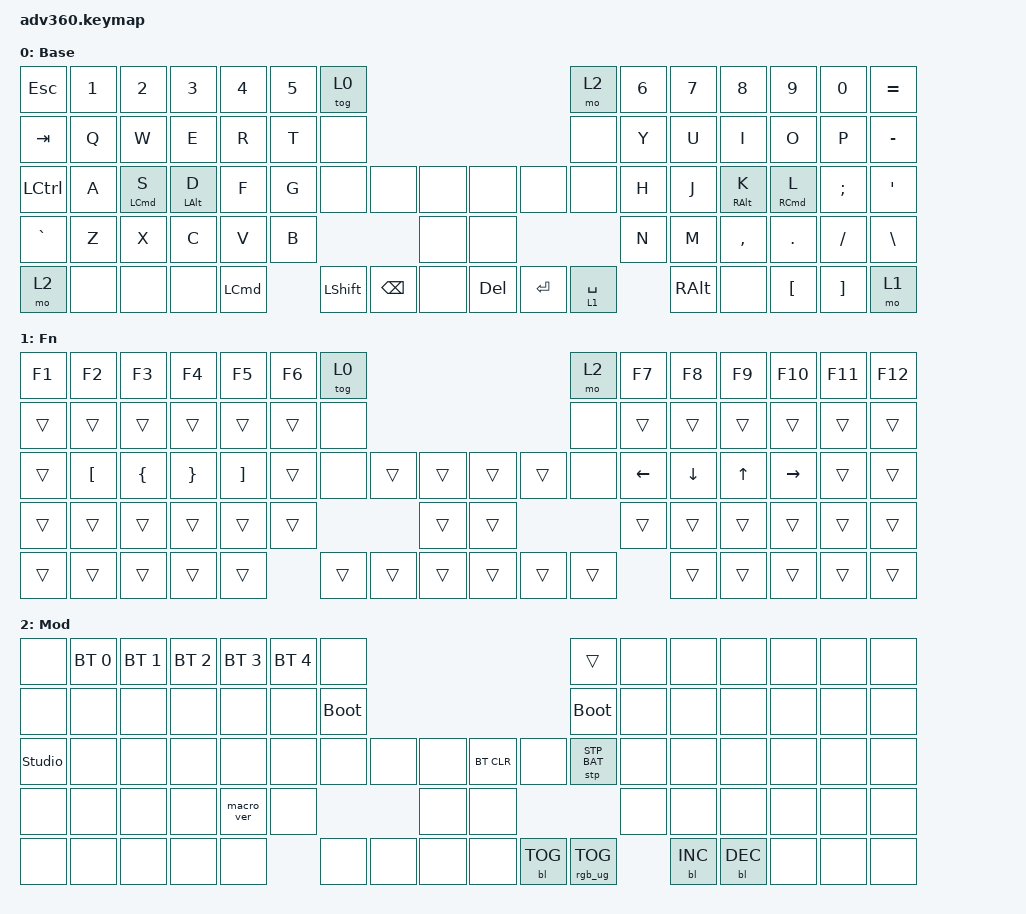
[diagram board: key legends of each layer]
#include <dt-bindings/zmk/stp.h>
#include <behaviors.dtsi>
#include <dt-bindings/zmk/backlight.h>
#include <dt-bindings/zmk/bt.h>
#include <dt-bindings/zmk/keys.h>
#include <dt-bindings/zmk/rgb.h>

/ {
    behaviors {
        #include "macros.dtsi"
      #include "version.dtsi"

        hm_l: hm_l {
            compatible = "zmk,behavior-hold-tap";
            label = "HM_L";
            bindings = <&kp>, <&kp>;

            #binding-cells = <2>;
            tapping-term-ms = <300>;
            quick-tap-ms = <175>;
            require-prior-idle-ms = <150>;
            flavor = "balanced";
            hold-trigger-on-release;
            hold-trigger-key-positions = <7 8 9 10 11 12 13 21 7 8 9 10 11 12 13 21 22 23 24 25 26 27 38 39 40 41 42 43 44 45 54 55 56 57 58 59 69 70 71 72 73 74 75 21 22 23 24 25 26 27 37 38 39 40 41 42 43 44 45 53 54 55 56 57 58 59 68 69 70 71 72 73 74 75>;
        };

        hm_r: hm_r {
            compatible = "zmk,behavior-hold-tap";
            label = "HM_R";
            bindings = <&kp>, <&kp>;

            #binding-cells = <2>;
            tapping-term-ms = <300>;
            quick-tap-ms = <175>;
            require-prior-idle-ms = <150>;
            flavor = "balanced";
            hold-trigger-on-release;
            hold-trigger-key-positions = <0 1 2 3 4 5 6 14 15 16 17 18 19 20 28 29 30 31 32 33 34 35 36 46 47 48 49 50 51 52 60 61 62 63 64 65 66 67>;
        };
    };

    keymap {
        compatible = "zmk,keymap";

        default_layer {
            display-name = "Base";
            bindings = <
&kp ESCAPE  &kp N1  &kp N2        &kp N3            &kp N4    &kp N5  &tog 0                                                        &mo 2        &kp N6  &kp N7         &kp N8             &kp N9        &kp N0    &kp EQUAL
&kp TAB     &kp Q   &kp W         &kp E             &kp R     &kp T   &none                                                         &none        &kp Y   &kp U          &kp I              &kp O         &kp P     &kp MINUS
&kp LCTRL   &kp A   &hm_l LCMD S  &hm_l LEFT_ALT D  &kp F     &kp G   &none           &none          &none      &none    &none      &none        &kp H   &kp J          &hm_r RIGHT_ALT K  &hm_r RCMD L  &kp SEMI  &kp SQT
&kp GRAVE   &kp Z   &kp X         &kp C             &kp V     &kp B                                  &none      &none                            &kp N   &kp M          &kp COMMA          &kp DOT       &kp FSLH  &kp BACKSLASH
&mo 2       &none   &none         &none             &kp LCMD          &kp LEFT_SHIFT  &kp BACKSPACE  &none      &kp DEL  &kp ENTER  &lt 1 SPACE          &kp RIGHT_ALT  &none              &kp LBKT      &kp RBKT  &mo 1
            >;
        };

        fn {
            display-name = "Fn";
            bindings = <
&kp F1  &kp F2            &kp F3          &kp F4           &kp F5             &kp F6  &tog 0                                      &mo 2   &kp F7    &kp F8          &kp F9        &kp F10    &kp F11  &kp F12
&trans  &trans            &trans          &trans           &trans             &trans  &none                                       &none   &trans    &trans          &trans        &trans     &trans   &trans
&trans  &kp LEFT_BRACKET  &kp LEFT_BRACE  &kp RIGHT_BRACE  &kp RIGHT_BRACKET  &trans  &none   &trans  &trans      &trans  &trans  &none   &kp LEFT  &kp DOWN_ARROW  &kp UP_ARROW  &kp RIGHT  &trans   &trans
&trans  &trans            &trans          &trans           &trans             &trans                  &trans      &trans                  &trans    &trans          &trans        &trans     &trans   &trans
&trans  &trans            &trans          &trans           &trans                     &trans  &trans  &trans      &trans  &trans  &trans            &trans          &trans        &trans     &trans   &trans
            >;
        };

        mod {
            display-name = "Mod";
            bindings = <
&none           &bt BT_SEL 0  &bt BT_SEL 1  &bt BT_SEL 2  &bt BT_SEL 3  &bt BT_SEL 4  &none                                                  &trans           &none  &none       &none       &none  &none  &none
&none           &none         &none         &none         &none         &none         &bootloader                                            &bootloader      &none  &none       &none       &none  &none  &none
&studio_unlock  &none         &none         &none         &none         &none         &none        &none  &none      &bt BT_CLR  &none       &stp STP_BAT     &none  &none       &none       &none  &none  &none
&none           &none         &none         &none         &macro_ver    &none                             &none      &none                                    &none  &none       &none       &none  &none  &none
&none           &none         &none         &none         &none                       &none        &none  &none      &none       &bl BL_TOG  &rgb_ug RGB_TOG         &bl BL_INC  &bl BL_DEC  &none  &none  &none
            >;
        };

        extra1 {
            display-name = "Red";
            status = "reserved";
        };

        extra2 {
            display-name = "Purple";
            status = "reserved";
        };

        extra3 {
            display-name = "Cyan";
            status = "reserved";
        };

        extra4 {
            display-name = "Yellow";
            status = "reserved";
        };
    };
};
